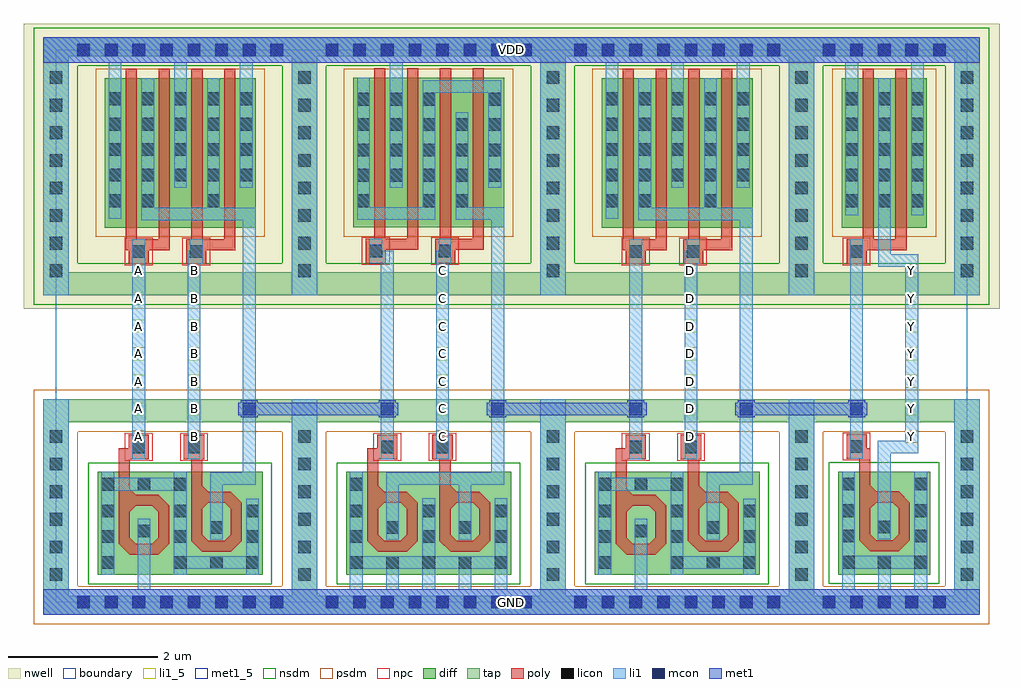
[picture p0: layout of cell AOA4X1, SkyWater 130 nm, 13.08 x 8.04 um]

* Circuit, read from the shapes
.subckt AOA4X1 A B C D GND VDD Y
XM1 n1 A GND GND sky130_fd_pr__nfet_01v8 w=2.6 l=0.1474
XM2 n1 B n2 GND sky130_fd_pr__nfet_01v8 w=2.56 l=0.1478
XM3 GND n2 n3 GND sky130_fd_pr__nfet_01v8 w=2.56 l=0.1456
XM4 GND C n3 GND sky130_fd_pr__nfet_01v8 w=2.56 l=0.1471
XM5 n4 n3 GND GND sky130_fd_pr__nfet_01v8 w=2.6 l=0.146
XM6 n4 D n5 GND sky130_fd_pr__nfet_01v8 w=2.56 l=0.1478
XM7 GND n5 Y GND sky130_fd_pr__nfet_01v8 w=2.56 l=0.1486
XM8 n2 A VDD VDD sky130_fd_pr__pfet_01v8 w=2 l=0.15 m=2
XM9 n2 B VDD VDD sky130_fd_pr__pfet_01v8 w=2 l=0.15 m=2
XM10 VDD n2 n6 VDD sky130_fd_pr__pfet_01v8 w=2 l=0.15 m=2
XM11 n3 C n6 VDD sky130_fd_pr__pfet_01v8 w=2 l=0.15 m=2
XM12 n5 n3 VDD VDD sky130_fd_pr__pfet_01v8 w=2 l=0.15 m=2
XM13 n5 D VDD VDD sky130_fd_pr__pfet_01v8 w=2 l=0.15 m=2
XM14 Y n5 VDD VDD sky130_fd_pr__pfet_01v8 w=2 l=0.15 m=2
.ends

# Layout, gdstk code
from math import pi, radians
import gdstk
lib = gdstk.Library(unit=1e-6, precision=1e-09)
def R(c, l, rs):  # rectangles x0, y0, x1, y1
    for r in rs: c.add(gdstk.rectangle(r[:2], r[2:], *l))
def A(c, l, x, y, w, h, nx, ny, dx, dy):  # array of equal rectangles
    R(c, l, [(x+i*dx, y+j*dy, x+i*dx+w, y+j*dy+h) for i in range(nx) for j in range(ny)])
def P(c, l, *ps):  # polygons
    for p in ps: c.add(gdstk.Polygon(p, *l))
nwell = (64, 20)
diff = (65, 20)
tap = (65, 44)
poly = (66, 20)
licon = (66, 44)
li1_5 = (67, 5)
li1 = (67, 20)
mcon = (67, 44)
met1_5 = (68, 5)
met1 = (68, 20)
nsdm = (93, 44)
psdm = (94, 20)
npc = (95, 20)
boundary = (235, 4)

li1_m1_contact = lib.new_cell('li1_M1_contact')
R(li1_m1_contact, li1, [(-0.085,-0.165,0.085,0.165)])
R(li1_m1_contact, mcon, [(-0.085,-0.085,0.085,0.085)])
R(li1_m1_contact, met1, [(-0.115,-0.115,0.115,-0.085), (-0.265,-0.085,0.145,0.085), (-0.115,0.085,0.115,0.115)])

poly_li1_contact = lib.new_cell('poly_li1_contact')
R(poly_li1_contact, poly, [(-0.16,-0.14,0.17,0.13)])
R(poly_li1_contact, licon, [(-0.08,-0.09,0.09,0.08)])
R(poly_li1_contact, li1, [(-0.16,-0.09,0.17,0.08)])
R(poly_li1_contact, npc, [(-0.18,-0.19,0.19,0.18)])

pmos2 = lib.new_cell('pmos2')
R(pmos2, nwell, [(0.26,-2.18,1.76,0.18)])
R(pmos2, diff, [(0.44,-2,1.58,0)])
R(pmos2, poly, [(0.72,-2.305,1.31,-2.155), (0.72,-2.155,0.87,0.13), (1.16,-2.155,1.31,0.13)])
A(pmos2, licon, 0.49, -1.38, 0.17, 0.17, 3, 4, 0.44, 0.34)
R(pmos2, li1, [(0.49,-1.465,0.66,0.21), (0.93,-1.465,1.1,0), (1.37,-1.465,1.54,0.21)])
R(pmos2, psdm, [(0.315,-2.125,1.705,0.125)])

nmos_top = lib.new_cell('nmos_top')
R(nmos_top, diff, [(0,0,1.23,1.38)])
R(nmos_top, poly, [(0.42,0.31,0.8,0.46), (0.27,0.46,0.42,0.965), (0.8,0.46,0.95,0.965), (0.42,0.965,0.95,1.115), (0.8,1.115,0.95,1.54)])
P(nmos_top, poly, [(0.72,1.115),(0.8,1.115),(0.8,1.195)],
  [(0.27,0.965),(0.42,0.965),(0.42,1.115)],
  [(0.42,0.885),(0.42,0.965),(0.5,0.965)],
  [(0.72,0.965),(0.8,0.965),(0.8,0.885)],
  [(0.42,0.54),(0.42,0.46),(0.5,0.46)],
  [(0.72,0.46),(0.8,0.46),(0.8,0.54)],
  [(0.27,0.46),(0.42,0.46),(0.42,0.31)],
  [(0.8,0.31),(0.8,0.46),(0.95,0.46)])
R(nmos_top, licon, [(0.04,0.08,0.21,0.25), (0.53,0.08,0.7,0.25), (1.01,0.08,1.18,0.25), (0.04,0.43,0.21,0.6), (1.01,0.43,1.18,0.6), (0.53,0.55,0.7,0.72), (0.04,0.77,0.21,0.94), (1.01,0.77,1.18,0.94), (0.04,1.13,0.21,1.3), (1.01,1.13,1.18,1.3)])
R(nmos_top, li1, [(0.04,0,0.21,0.08), (1.01,0,1.18,0.08), (0.04,0.08,1.18,0.25), (0.04,0.25,0.21,1.38), (1.01,0.25,1.18,1.38), (0.53,0.47,0.7,0.805)])
R(nmos_top, nsdm, [(-0.125,-0.125,1.355,1.505)])

diff_ring_side = lib.new_cell('diff_ring_side')
R(diff_ring_side, nwell, [(-0.435,3.93,0.435,7.75)])
R(diff_ring_side, tap, [(-0.17,-0.17,0.17,2.72), (-0.17,4.11,0.17,7.57)])
A(diff_ring_side, licon, -0.085, 0.285, 0.17, 0.17, 1, 6, 0, 0.37)
A(diff_ring_side, licon, -0.085, 4.355, 0.17, 0.17, 1, 8, 0, 0.37)
R(diff_ring_side, li1, [(-0.17,-0.17,0.17,2.72), (-0.17,4.11,0.17,7.57)])
R(diff_ring_side, met1, [(-0.17,-0.17,0.17,0.17), (-0.17,7.23,0.17,7.57)])
R(diff_ring_side, nsdm, [(-0.295,3.985,0.295,7.695)])
R(diff_ring_side, psdm, [(-0.295,-0.295,0.295,2.845)])

invx1_pcell = lib.new_cell('invx1_pcell')
R(invx1_pcell, nwell, [(-0.435,3.93,2.655,7.75)])
A(invx1_pcell, diff, 0.59, 5.295, 0.17, 0.17, 3, 1, 0.44, 0)
R(invx1_pcell, tap, [(0.17,-0.17,2.05,0.085), (0.17,2.41,2.05,2.72), (0.17,4.11,2.05,4.42), (0.17,7.315,2.05,7.57)])
R(invx1_pcell, poly, [(0.775,1.905,0.925,2.065)])
A(invx1_pcell, licon, 0.285, -0.085, 0.17, 0.17, 5, 2, 0.37, 7.4)
A(invx1_pcell, licon, 0.59, 5.295, 0.17, 0.17, 3, 1, 0.44, 0)
R(invx1_pcell, li1, [(0.17,-0.17,2.05,0.17), (0.545,0.17,0.715,0.45), (1.03,0.17,1.2,0.455), (1.515,0.17,1.685,0.45), (1.025,1.165,1.195,1.995), (1.025,1.995,1.565,2.165), (1.395,2.165,1.565,4.495), (0.655,2.245,0.825,4.54), (1.03,4.495,1.565,4.665), (1.03,4.665,1.2,5.555), (0.59,5.185,0.76,5.555), (1.47,5.185,1.64,5.555), (0.17,7.23,2.05,7.57)])
A(invx1_pcell, mcon, 0.285, -0.085, 0.17, 0.17, 5, 2, 0.37, 7.4)
R(invx1_pcell, met1, [(0.17,-0.17,2.05,0.17), (0.17,7.23,2.05,7.57)])
R(invx1_pcell, nsdm, [(0.045,3.985,2.175,4.545), (0.045,7.19,2.175,7.695)])
R(invx1_pcell, psdm, [(0.045,-0.295,2.175,0.21), (0.045,2.285,2.175,2.845), (0.465,5.17,1.765,5.59)])
invx1_pcell.add(gdstk.Reference(poly_li1_contact, (0.735,2.08), rotation=pi/2))
invx1_pcell.add(gdstk.Reference(poly_li1_contact, (0.745,4.705), rotation=3*pi/2))
invx1_pcell.add(gdstk.Reference(pmos2, (0.1,7.02)))
invx1_pcell.add(gdstk.Reference(nmos_top, (1.725,0.37), rotation=pi, x_reflection=True))
invx1_pcell.add(gdstk.Reference(diff_ring_side, (0,0)))
invx1_pcell.add(gdstk.Reference(diff_ring_side, (2.22,0)))

nmos_bottom = lib.new_cell('nmos_bottom')
R(nmos_bottom, diff, [(0,0,1.24,1.38)])
R(nmos_bottom, poly, [(0.43,0.27,0.81,0.42), (0.28,0.42,0.43,0.925), (0.81,0.42,0.96,0.925), (0.43,0.925,0.96,1.075), (0.81,1.075,0.96,1.51)])
P(nmos_bottom, poly, [(0.73,1.075),(0.81,1.075),(0.81,1.155)],
  [(0.28,0.925),(0.43,0.925),(0.43,1.075)],
  [(0.43,0.845),(0.43,0.925),(0.51,0.925)],
  [(0.73,0.925),(0.81,0.925),(0.81,0.845)],
  [(0.43,0.5),(0.43,0.42),(0.51,0.42)],
  [(0.73,0.42),(0.81,0.42),(0.81,0.5)],
  [(0.28,0.42),(0.43,0.42),(0.43,0.27)],
  [(0.81,0.27),(0.81,0.42),(0.96,0.42)])
A(nmos_bottom, licon, 0.05, 1.13, 0.17, 0.17, 3, 1, 0.485, 0)
R(nmos_bottom, licon, [(0.05,0.08,0.22,0.25), (1.02,0.08,1.19,0.25), (0.05,0.43,0.22,0.6), (1.02,0.43,1.19,0.6), (0.535,0.505,0.705,0.675), (0.05,0.77,0.22,0.94), (1.02,0.77,1.19,0.94)])
R(nmos_bottom, li1, [(0.05,0,0.22,1.13), (1.02,0,1.19,1.13), (0.535,0.425,0.705,0.755), (0.05,1.13,1.19,1.3), (0.05,1.3,0.22,1.38), (1.02,1.3,1.19,1.38)])
R(nmos_bottom, nsdm, [(-0.125,-0.125,1.365,1.505)])

nmos_top_trim1 = lib.new_cell('nmos_top_trim1')
R(nmos_top_trim1, diff, [(0,0,1.24,1.38)])
R(nmos_top_trim1, poly, [(0.43,0.31,0.81,0.46), (0.28,0.46,0.43,0.965), (0.81,0.46,0.96,0.965), (0.43,0.965,0.96,1.115), (0.81,1.115,0.96,1.545)])
P(nmos_top_trim1, poly, [(0.73,1.115),(0.81,1.115),(0.81,1.195)],
  [(0.28,0.965),(0.43,0.965),(0.43,1.115)],
  [(0.43,0.885),(0.43,0.965),(0.51,0.965)],
  [(0.73,0.965),(0.81,0.965),(0.81,0.885)],
  [(0.43,0.54),(0.43,0.46),(0.51,0.46)],
  [(0.73,0.46),(0.81,0.46),(0.81,0.54)],
  [(0.28,0.46),(0.43,0.46),(0.43,0.31)],
  [(0.81,0.31),(0.81,0.46),(0.96,0.46)])
A(nmos_top_trim1, licon, 0.05, 0.08, 0.17, 0.17, 3, 1, 0.485, 0)
R(nmos_top_trim1, licon, [(0.05,0.43,0.22,0.6), (1.02,0.43,1.19,0.6), (0.535,0.55,0.705,0.72), (0.05,0.77,0.22,0.94), (1.02,0.77,1.19,0.94), (1.02,1.13,1.19,1.3)])
R(nmos_top_trim1, li1, [(0.05,0,0.22,0.08), (1.02,0,1.19,0.08), (0.05,0.08,1.19,0.25), (0.05,0.25,0.22,1.02), (1.02,0.25,1.19,1.38), (0.535,0.47,0.705,0.805)])
R(nmos_top_trim1, nsdm, [(-0.125,-0.125,1.365,1.505)])

nand2x1_pcell = lib.new_cell('nand2x1_pcell')
R(nand2x1_pcell, nwell, [(0.435,3.93,2.895,7.75)])
R(nand2x1_pcell, diff, [(0.705,5.295,0.875,5.465), (1.145,5.295,1.315,5.465), (2.025,5.295,2.195,5.465)])
R(nand2x1_pcell, tap, [(0.17,-0.17,3.16,-0.15), (0.155,-0.15,3.175,0.085), (0.155,2.4,0.17,2.41), (3.16,2.4,3.175,2.41), (0.155,2.41,3.175,2.71), (0.17,2.71,3.16,2.72), (0.17,4.11,3.16,4.42), (0.17,7.315,3.16,7.57)])
R(nand2x1_pcell, poly, [(0.84,1.875,0.99,2.065), (1.81,1.91,1.96,1.915)])
A(nand2x1_pcell, licon, 0.285, -0.085, 0.17, 0.17, 8, 2, 0.37, 7.4)
R(nand2x1_pcell, licon, [(0.705,5.295,0.875,5.465), (1.145,5.295,1.315,5.465), (2.025,5.295,2.195,5.465)])
R(nand2x1_pcell, li1, [(0.17,-0.17,3.16,-0.15), (0.155,-0.15,3.175,0.16), (0.17,0.16,3.16,0.17), (1.095,0.17,1.265,0.835), (2.065,1.165,2.235,1.57), (2.065,1.57,2.675,1.74), (2.505,1.74,2.675,5.115), (1.025,2.165,1.195,4.54), (1.765,2.165,1.785,2.205), (1.765,2.205,1.935,4.54), (1.765,4.54,1.805,4.71), (1.145,5.115,2.675,5.285), (0.705,5.135,0.875,5.555), (1.145,5.285,1.315,5.555), (2.025,5.285,2.195,5.555), (0.17,7.23,3.16,7.57)])
A(nand2x1_pcell, mcon, 0.285, -0.085, 0.17, 0.17, 8, 2, 0.37, 7.4)
R(nand2x1_pcell, met1, [(0.17,-0.17,3.16,-0.15), (0.155,-0.15,3.175,0.16), (0.17,0.16,3.16,0.17), (0.17,7.23,3.16,7.57)])
R(nand2x1_pcell, nsdm, [(0.045,3.985,3.285,4.545), (0.045,7.19,3.285,7.695)])
R(nand2x1_pcell, psdm, [(0.045,-0.295,3.285,-0.275), (0.03,-0.275,3.3,0.21), (0.03,2.275,0.295,2.285), (3.035,2.275,3.3,2.285), (0.03,2.285,3.3,2.835), (0.045,2.835,3.285,2.845), (0.58,5.17,1.44,5.59), (1.9,5.17,2.32,5.59)])
nand2x1_pcell.add(gdstk.Reference(diff_ring_side, (0,0)))
nand2x1_pcell.add(gdstk.Reference(nmos_bottom, (1.8,0.365), rotation=pi, x_reflection=True))
nand2x1_pcell.add(gdstk.Reference(pmos2, (0.215,7.02)))
nand2x1_pcell.add(gdstk.Reference(poly_li1_contact, (1.115,4.705), rotation=3*pi/2))
nand2x1_pcell.add(gdstk.Reference(poly_li1_contact, (1.115,2.085), rotation=3*pi/2))
nand2x1_pcell.add(gdstk.Reference(nmos_top_trim1, (2.77,0.365), rotation=pi, x_reflection=True))
nand2x1_pcell.add(gdstk.Reference(pmos2, (1.095,7.02)))
nand2x1_pcell.add(gdstk.Reference(poly_li1_contact, (1.845,2.075), rotation=pi/2))
nand2x1_pcell.add(gdstk.Reference(poly_li1_contact, (1.885,4.705), rotation=3*pi/2))
nand2x1_pcell.add(gdstk.Reference(diff_ring_side, (3.33,0)))

pmos2_1 = lib.new_cell('pmos2_1')
R(pmos2_1, nwell, [(0.26,-2.175,1.76,0.185)])
R(pmos2_1, diff, [(0.44,-1.995,1.58,0.005)])
R(pmos2_1, poly, [(0.72,-2.3,1.31,-2.15), (0.72,-2.15,0.87,0.135), (1.16,-2.15,1.31,0.135)])
A(pmos2_1, licon, 0.49, -1.385, 0.17, 0.17, 3, 3, 0.44, 0.34)
A(pmos2_1, li1, 0.49, -1.465, 0.17, 1.01, 3, 1, 0.44, 0)
R(pmos2_1, psdm, [(0.315,-2.12,1.705,0.13)])

nmos_top_trim2 = lib.new_cell('nmos_top_trim2')
R(nmos_top_trim2, diff, [(0,0,1.24,1.38)])
R(nmos_top_trim2, poly, [(0.43,0.31,0.81,0.46), (0.28,0.46,0.43,0.89), (0.81,0.46,0.96,0.89), (0.28,0.89,0.435,0.965), (0.805,0.89,0.96,0.965), (0.43,0.965,0.96,1.115), (0.81,1.115,0.96,1.545)])
P(nmos_top_trim2, poly, [(0.73,1.115),(0.81,1.115),(0.81,1.195)],
  [(0.28,0.965),(0.43,0.965),(0.43,1.115)],
  [(0.435,0.89),(0.435,0.965),(0.51,0.965)],
  [(0.73,0.965),(0.805,0.965),(0.805,0.89)],
  [(0.43,0.54),(0.43,0.46),(0.51,0.46)],
  [(0.73,0.46),(0.81,0.46),(0.81,0.54)],
  [(0.28,0.46),(0.43,0.46),(0.43,0.31)],
  [(0.81,0.31),(0.81,0.46),(0.96,0.46)])
A(nmos_top_trim2, licon, 0.05, 0.08, 0.17, 0.17, 3, 1, 0.485, 0)
R(nmos_top_trim2, licon, [(0.05,0.43,0.22,0.6), (1.02,0.43,1.19,0.6), (0.535,0.55,0.705,0.72), (0.05,0.77,0.22,0.94), (1.02,0.77,1.19,0.94)])
R(nmos_top_trim2, li1, [(0.05,0,0.22,0.08), (1.02,0,1.19,0.08), (0.05,0.08,1.19,0.25), (0.05,0.25,0.22,1.025), (1.02,0.25,1.19,1.025), (0.535,0.47,0.705,0.805)])
R(nmos_top_trim2, nsdm, [(-0.125,-0.125,1.365,1.505)])

nor2x1_pcell = lib.new_cell('nor2x1_pcell')
R(nor2x1_pcell, nwell, [(0.435,3.93,2.895,7.75)])
A(nor2x1_pcell, diff, 0.705, 6.655, 0.17, 0.17, 3, 1, 0.44, 0)
R(nor2x1_pcell, diff, [(0.705,5.295,0.875,5.465), (1.585,5.295,1.755,5.465), (2.025,5.295,2.195,5.465), (2.465,6.655,2.635,6.825)])
R(nor2x1_pcell, tap, [(0.17,-0.17,3.16,0.085), (0.17,2.41,3.16,2.72), (0.17,4.11,3.16,4.42), (0.17,7.315,3.16,7.57)])
R(nor2x1_pcell, poly, [(0.84,1.875,0.99,2.065), (1.81,1.91,1.96,1.915)])
A(nor2x1_pcell, licon, 0.285, -0.085, 0.17, 0.17, 8, 2, 0.37, 7.4)
A(nor2x1_pcell, licon, 0.705, 6.655, 0.17, 0.17, 3, 1, 0.44, 0)
R(nor2x1_pcell, licon, [(0.705,5.295,0.875,5.465), (1.585,5.295,1.755,5.465), (2.025,5.295,2.195,5.465), (2.465,6.655,2.635,6.825)])
A(nor2x1_pcell, li1, 0.61, 0.17, 0.17, 0.195, 3, 1, 0.97, 0)
R(nor2x1_pcell, li1, [(0.17,-0.17,3.16,0.17), (1.095,0.17,1.265,0.445), (2.065,0.17,2.235,0.445), (1.095,1.165,1.265,1.57), (2.065,1.165,2.235,1.57), (1.095,1.57,2.675,1.74), (2.505,1.74,2.675,5.125), (1.025,2.165,1.195,4.71), (1.765,2.165,1.785,2.205), (1.765,2.205,1.935,4.54), (1.765,4.54,1.805,4.71), (0.705,5.125,1.755,5.295), (2.025,5.125,2.675,5.295), (0.705,5.295,0.875,5.555), (1.585,5.295,1.755,5.555), (2.025,5.295,2.195,5.555), (0.705,6.565,0.875,7.025), (1.145,6.565,1.315,7.23), (1.585,6.565,1.755,6.825), (2.465,6.565,2.635,6.825), (1.585,6.825,2.635,6.995), (0.17,7.23,3.16,7.57)])
A(nor2x1_pcell, mcon, 0.285, -0.085, 0.17, 0.17, 8, 2, 0.37, 7.4)
R(nor2x1_pcell, met1, [(0.17,-0.17,3.16,0.17), (0.17,7.23,3.16,7.57)])
R(nor2x1_pcell, nsdm, [(0.045,3.985,3.285,4.545), (0.045,7.19,3.285,7.695)])
R(nor2x1_pcell, psdm, [(0.045,-0.295,3.285,0.21), (0.045,2.285,3.285,2.845), (0.58,5.17,1,5.59), (1.46,5.17,2.32,5.59), (0.58,6.53,1.88,6.95), (2.34,6.53,2.76,6.95)])
nor2x1_pcell.add(gdstk.Reference(diff_ring_side, (0,0)))
nor2x1_pcell.add(gdstk.Reference(nmos_top_trim1, (1.8,0.365), rotation=pi, x_reflection=True))
nor2x1_pcell.add(gdstk.Reference(pmos2_1, (0.215,7.02)))
nor2x1_pcell.add(gdstk.Reference(poly_li1_contact, (0.96,4.71), rotation=3*pi/2))
nor2x1_pcell.add(gdstk.Reference(poly_li1_contact, (1.115,2.085), rotation=3*pi/2))
nor2x1_pcell.add(gdstk.Reference(nmos_top_trim2, (2.77,0.365), rotation=pi, x_reflection=True))
nor2x1_pcell.add(gdstk.Reference(pmos2_1, (1.095,7.02)))
nor2x1_pcell.add(gdstk.Reference(poly_li1_contact, (1.845,2.075), rotation=pi/2))
nor2x1_pcell.add(gdstk.Reference(poly_li1_contact, (1.89,4.71), rotation=3*pi/2))
nor2x1_pcell.add(gdstk.Reference(diff_ring_side, (3.33,0)))

aoai4x1_pcell = lib.new_cell('aoai4x1_pcell')
R(aoai4x1_pcell, met1, [(2.685,2.505,4.205,2.675), (6.015,2.505,7.56,2.675)])
aoai4x1_pcell.add(gdstk.Reference(li1_m1_contact, (7.77,2.59)))
aoai4x1_pcell.add(gdstk.Reference(li1_m1_contact, (5.92,2.59), rotation=pi))
aoai4x1_pcell.add(gdstk.Reference(li1_m1_contact, (4.44,2.59)))
aoai4x1_pcell.add(gdstk.Reference(li1_m1_contact, (2.59,2.59), rotation=pi))
aoai4x1_pcell.add(gdstk.Reference(nand2x1_pcell, (0,0)))
aoai4x1_pcell.add(gdstk.Reference(nand2x1_pcell, (6.66,0)))
aoai4x1_pcell.add(gdstk.Reference(nor2x1_pcell, (3.33,0)))

aoa4x1_pcell = lib.new_cell('aoa4x1_pcell')
R(aoa4x1_pcell, met1, [(9.345,2.505,10.57,2.675)])
aoa4x1_pcell.add(gdstk.Reference(li1_m1_contact, (10.73,2.59)))
aoa4x1_pcell.add(gdstk.Reference(li1_m1_contact, (9.25,2.59), rotation=pi))
aoa4x1_pcell.add(gdstk.Reference(invx1_pcell, (9.99,0)))
aoa4x1_pcell.add(gdstk.Reference(aoai4x1_pcell, (0,0)))

aoa4x1 = lib.new_cell('AOA4X1')
R(aoa4x1, nwell, [(0.285,7.315,0.455,7.485)])
A(aoa4x1, li1_5, 1.025, 2.135, 0.17, 0.17, 1, 7, 0, 0.37)
A(aoa4x1, li1_5, 1.765, 2.135, 0.17, 0.17, 3, 7, 3.33, 0.37)
A(aoa4x1, li1_5, 11.385, 2.135, 0.17, 0.17, 1, 7, 0, 0.37)
A(aoa4x1, li1, 1.025, 2.135, 0.17, 0.17, 1, 7, 0, 0.37)
A(aoa4x1, li1, 1.765, 2.135, 0.17, 0.17, 3, 7, 3.33, 0.37)
A(aoa4x1, li1, 11.385, 2.135, 0.17, 0.17, 1, 7, 0, 0.37)
R(aoa4x1, met1_5, [(-0.17,-0.17,12.38,0.17), (-0.17,7.23,12.38,7.57)])
R(aoa4x1, met1, [(-0.17,-0.17,12.38,0.17), (-0.17,7.23,12.38,7.57)])
R(aoa4x1, boundary, [(0,0,12.21,7.4)])
aoa4x1.add(gdstk.Reference(aoa4x1_pcell, (0,0)))
aoa4x1.add(gdstk.Label('Y', (11.47,2.96), layer=67, texttype=5))
aoa4x1.add(gdstk.Label('Y', (11.47,2.59), layer=67, texttype=5))
aoa4x1.add(gdstk.Label('Y', (11.47,2.22), layer=67, texttype=5))
aoa4x1.add(gdstk.Label('Y', (11.47,3.33), layer=67, texttype=5))
aoa4x1.add(gdstk.Label('Y', (11.47,3.7), layer=67, texttype=5))
aoa4x1.add(gdstk.Label('Y', (11.47,4.07), layer=67, texttype=5))
aoa4x1.add(gdstk.Label('Y', (11.47,4.44), layer=67, texttype=5))
aoa4x1.add(gdstk.Label('A', (1.11,2.96), layer=67, texttype=5))
aoa4x1.add(gdstk.Label('A', (1.11,2.59), layer=67, texttype=5))
aoa4x1.add(gdstk.Label('A', (1.11,2.22), layer=67, texttype=5))
aoa4x1.add(gdstk.Label('A', (1.11,3.33), layer=67, texttype=5))
aoa4x1.add(gdstk.Label('A', (1.11,3.7), layer=67, texttype=5))
aoa4x1.add(gdstk.Label('A', (1.11,4.07), layer=67, texttype=5))
aoa4x1.add(gdstk.Label('A', (1.11,4.44), layer=67, texttype=5))
aoa4x1.add(gdstk.Label('B', (1.85,3.33), layer=67, texttype=5))
aoa4x1.add(gdstk.Label('B', (1.85,3.7), layer=67, texttype=5))
aoa4x1.add(gdstk.Label('B', (1.85,4.44), layer=67, texttype=5))
aoa4x1.add(gdstk.Label('B', (1.85,4.07), layer=67, texttype=5))
aoa4x1.add(gdstk.Label('B', (1.85,2.96), layer=67, texttype=5))
aoa4x1.add(gdstk.Label('B', (1.85,2.59), layer=67, texttype=5))
aoa4x1.add(gdstk.Label('B', (1.85,2.22), layer=67, texttype=5))
aoa4x1.add(gdstk.Label('C', (5.18,3.7), layer=67, texttype=5))
aoa4x1.add(gdstk.Label('C', (5.18,4.07), layer=67, texttype=5))
aoa4x1.add(gdstk.Label('C', (5.18,4.44), layer=67, texttype=5))
aoa4x1.add(gdstk.Label('C', (5.18,3.33), layer=67, texttype=5))
aoa4x1.add(gdstk.Label('C', (5.18,2.96), layer=67, texttype=5))
aoa4x1.add(gdstk.Label('C', (5.18,2.59), layer=67, texttype=5))
aoa4x1.add(gdstk.Label('C', (5.18,2.22), layer=67, texttype=5))
aoa4x1.add(gdstk.Label('D', (8.51,4.07), layer=67, texttype=5))
aoa4x1.add(gdstk.Label('D', (8.51,3.7), layer=67, texttype=5))
aoa4x1.add(gdstk.Label('D', (8.51,3.33), layer=67, texttype=5))
aoa4x1.add(gdstk.Label('D', (8.51,2.96), layer=67, texttype=5))
aoa4x1.add(gdstk.Label('D', (8.51,2.59), layer=67, texttype=5))
aoa4x1.add(gdstk.Label('D', (8.51,2.22), layer=67, texttype=5))
aoa4x1.add(gdstk.Label('D', (8.51,4.44), layer=67, texttype=5))
aoa4x1.add(gdstk.Label('VDD', (6.105,7.4), layer=68, texttype=5))
aoa4x1.add(gdstk.Label('GND', (6.105,0), layer=68, texttype=5))

lib.write_gds('AOA4X1.gds')
